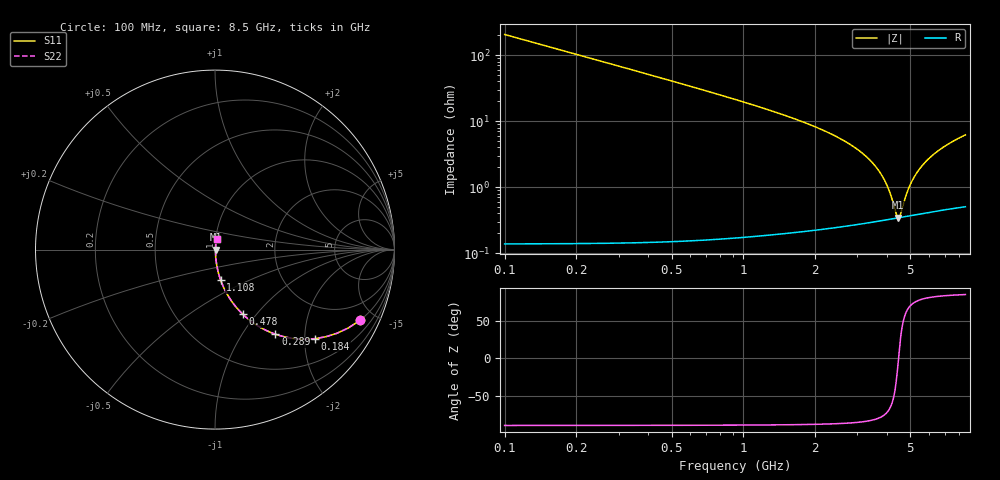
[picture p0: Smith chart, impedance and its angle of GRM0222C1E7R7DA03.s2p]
!Murata Part Number: GRM0222C1E7R7DA03
!These Parameters are Measured in Series Mode Connection
!Data Generated on Mar 30, 2021
!  o--ll--o
!Port1  Port2
!  o------o
!Operation Temp=25[degC], DC Bias Voltage=0[V]
!Freq. Start=100[MHz] Stop=9[GHz] 401[Steps]
# Hz S RI R 50
!Freq.(Hz) S11(Real) S11(Imag) S21(Real) S21(Imag) S12(Real) S12(Imag) S22(Real) S22(Imag)
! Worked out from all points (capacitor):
!   401 points, 100 MHz to 8.5 GHz, reference 50 ohm
!   read as one part in series: C = 7.7 pF near 142 MHz
!   lowest |Z| = 344 mohm at 4.447 GHz (marker M1)
!   series resonance near 4.461 GHz, so ESL is about 170 pH
!   S11 on the Smith chart (normalised r, x): 100 MHz: 1.00, -4.13; 184 MHz: 1.00, -2.24; 289 MHz: 1.00, -1.42; 478 MHz: 1.00, -0.85; 1.108 GHz: 1.00, -0.35; 8.5 GHz: 1.01, +0.12
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1e8  0.81 -0.392  0.19 0.392  0.19 0.392  0.81 -0.392
1.84e8  0.5569 -0.4961  0.4431 0.4961  0.4431 0.4961  0.5569 -0.4961
2.89e8  0.3367 -0.4716  0.6633 0.4716  0.6633 0.4716  0.3367 -0.4716
3.73e8  0.2329 -0.4213  0.7671 0.4213  0.7671 0.4213  0.2329 -0.4213
4.78e8  0.1552 -0.3603  0.8448 0.3603  0.8448 0.3603  0.1552 -0.3603
7.09e8  0.0758 -0.2619  0.9242 0.2619  0.9242 0.2619  0.0758 -0.2619
1.108e9  0.0312 -0.1688  0.9688 0.1688  0.9688 0.1688  0.0312 -0.1688
1.507e9  0.0163 -0.1188  0.9837 0.1188  0.9837 0.1188  0.0163 -0.1188
2.914e9  0.00426 -0.04  0.9957 0.04  0.9957 0.04  0.00426 -0.04
3.397e9  0.00353 -0.0251  0.9965 0.0251  0.9965 0.0251  0.00353 -0.0251
3.775e9  0.00332 -0.0152  0.9967 0.0152  0.9967 0.0152  0.00332 -0.0152
4.048e9  0.0033 -0.00883  0.9967 0.00883  0.9967 0.00883  0.0033 -0.00883
4.3e9  0.00335 -0.00334  0.9966 0.00334  0.9966 0.00334  0.00335 -0.00334
4.447e9  0.00342 -0.000293  0.9966 0.000293  0.9966 0.000293  0.00342 -0.000293
4.531e9  0.00346 0.0014  0.9965 -0.0014  0.9965 -0.0014  0.00346 0.0014
4.804e9  0.00363 0.00668  0.9964 -0.00668  0.9964 -0.00668  0.00363 0.00668
5.035e9  0.00382 0.0109  0.9962 -0.0109  0.9962 -0.0109  0.00382 0.0109
5.329e9  0.00409 0.0161  0.9959 -0.0161  0.9959 -0.0161  0.00409 0.0161
5.707e9  0.0045 0.0223  0.9955 -0.0223  0.9955 -0.0223  0.0045 0.0223
6.316e9  0.00527 0.0317  0.9947 -0.0317  0.9947 -0.0317  0.00527 0.0317
7.114e9  0.00643 0.0431  0.9936 -0.0431  0.9936 -0.0431  0.00643 0.0431
8.5e9  0.00877 0.061  0.9912 -0.061  0.9912 -0.061  0.00877 0.061
